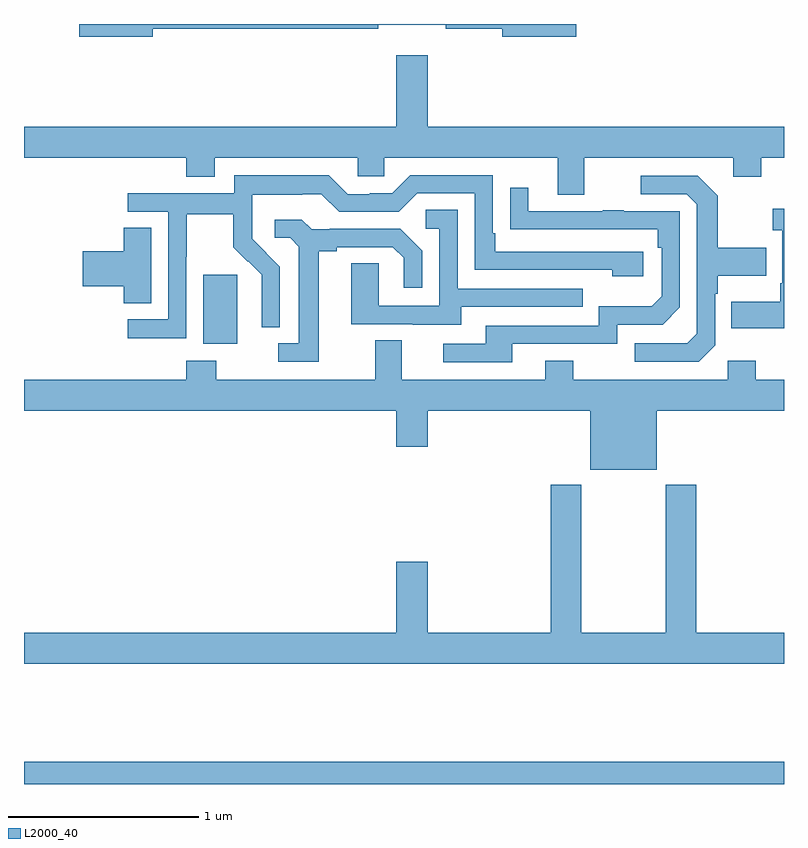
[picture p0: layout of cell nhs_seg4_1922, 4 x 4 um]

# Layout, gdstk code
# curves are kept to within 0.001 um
import gdstk
lib = gdstk.Library(unit=1e-6, precision=1e-09)
def R(c, l, rs):  # rectangles x0, y0, x1, y1
    for r in rs: c.add(gdstk.rectangle(r[:2], r[2:], *l))
def P(c, l, *ps):  # polygons
    for p in ps: c.add(gdstk.Polygon(p, *l))
L2000_40 = (2000, 40)

nhs_seg4_1922 = lib.new_cell('nhs_seg4_1922')
R(nhs_seg4_1922, L2000_40, [(211,750.9,215,751.016), (211.943,753.218,212.122,753.579)])
P(nhs_seg4_1922, L2000_40, [(211.678,754.876),(212.864,754.876),(212.864,754.895),(213.22,754.895),(213.22,754.876),(213.518,754.876),(213.518,754.834),(213.907,754.834),(213.907,754.9),(211.29,754.9),(211.29,754.834),(211.678,754.834)],
  [(213.949,754.196),(214.733,754.196),(214.733,754.097),(214.881,754.097),(214.881,754.196),(215,754.196),(215,754.36),(213.124,754.36),(213.124,754.735),(212.96,754.735),(212.96,754.36),(211,754.36),(211,754.196),(211.853,754.196),(211.853,754.097),(212.005,754.097),(212.005,754.196),(212.757,754.196),(212.757,754.098),(212.895,754.098),(212.895,754.196),(213.809,754.196),(213.809,754.002),(213.949,754.002)],
  [(211.854,753.676),(211.857,753.676),(211.857,753.9),(212.101,753.9),(212.101,753.725),(212.178,753.648),(212.181,753.651),(212.252,753.581),(212.252,753.458),(212.25,753.458),(212.25,753.304),(212.346,753.304),(212.346,753.622),(212.2,753.77),(212.2,753.867),(212.202,753.867),(212.202,754.001),(212.465,754.001),(212.465,754.005),(212.565,754.005),(212.658,753.912),(212.973,753.912),(213.069,754.008),(213.372,754.008),(213.372,753.606),(214.097,753.606),(214.097,753.572),(214.258,753.572),(214.258,753.702),(213.481,753.702),(213.481,753.799),(213.468,753.799),(213.468,754.104),(213.033,754.104),(212.937,754.008),(212.819,754.008),(212.819,754.005),(212.703,754.005),(212.603,754.105),(212.106,754.105),(212.106,754.008),(211.545,754.008),(211.545,753.912),(211.758,753.912),(211.758,753.345),(211.545,753.345),(211.545,753.247),(211.854,753.247)],
  [(214.638,753.21),(214.638,753.479),(214.651,753.479),(214.651,753.575),(214.907,753.575),(214.907,753.723),(214.651,753.723),(214.651,753.995),(214.545,754.101),(214.245,754.101),(214.245,754.005),(214.488,754.005),(214.542,753.951),(214.542,753.27),(214.491,753.219),(214.215,753.219),(214.215,753.123),(214.551,753.123)],
  [(213.571,753.216),(214.122,753.216),(214.122,753.318),(214.362,753.318),(214.452,753.408),(214.452,753.915),(214.157,753.915),(214.157,753.92),(214.045,753.92),(214.045,753.915),(213.655,753.915),(213.655,754.039),(213.559,754.039),(213.559,753.82),(214.336,753.819),(214.336,753.722),(214.356,753.722),(214.356,753.468),(214.303,753.415),(214.026,753.415),(214.026,753.312),(213.431,753.312),(213.431,753.216),(213.207,753.216),(213.207,753.12),(213.571,753.12)],
  [(215,753.928),(214.941,753.928),(214.941,753.815),(214.992,753.815),(214.992,753.535),(214.98,753.535),(214.98,753.439),(214.723,753.439),(214.723,753.299),(215,753.299)],
  [(213.301,753.411),(213.941,753.411),(213.941,753.507),(213.282,753.507),(213.282,753.923),(213.114,753.923),(213.114,753.822),(213.186,753.822),(213.186,753.417),(212.868,753.417),(212.868,753.641),(212.723,753.641),(212.723,753.321),(213.047,753.321),(213.047,753.317),(213.301,753.317)],
  [(212.551,753.704),(212.647,753.704),(212.647,753.726),(212.942,753.726),(212.999,753.669),(212.999,753.513),(213.096,753.513),(213.096,753.706),(212.98,753.822),(212.608,753.822),(212.608,753.819),(212.514,753.819),(212.462,753.871),(212.319,753.871),(212.319,753.774),(212.4,753.774),(212.447,753.727),(212.447,753.219),(212.337,753.219),(212.337,753.123),(212.551,753.123)],
  [(211.669,753.827),(211.526,753.827),(211.526,753.704),(211.308,753.704),(211.308,753.521),(211.526,753.521),(211.526,753.43),(211.669,753.43)],
  [(214.33,752.864),(215,752.864),(215,753.028),(214.851,753.028),(214.851,753.127),(214.704,753.127),(214.704,753.028),(213.891,753.028),(213.891,753.127),(213.743,753.127),(213.743,753.028),(212.989,753.028),(212.989,753.236),(212.849,753.236),(212.849,753.028),(212.013,753.028),(212.013,753.127),(211.853,753.127),(211.853,753.028),(211,753.028),(211,752.864),(212.96,752.864),(212.96,752.676),(213.124,752.676),(213.124,752.864),(213.98,752.864),(213.98,752.555),(214.33,752.555)],
  [(215,751.696),(214.538,751.696),(214.538,752.476),(214.378,752.476),(214.378,751.696),(213.933,751.696),(213.933,752.476),(213.773,752.476),(213.773,751.696),(213.124,751.696),(213.124,752.071),(212.96,752.071),(212.96,751.696),(211,751.696),(211,751.532),(215,751.532)])

lib.write_gds('nhs_seg4_1922.gds')
